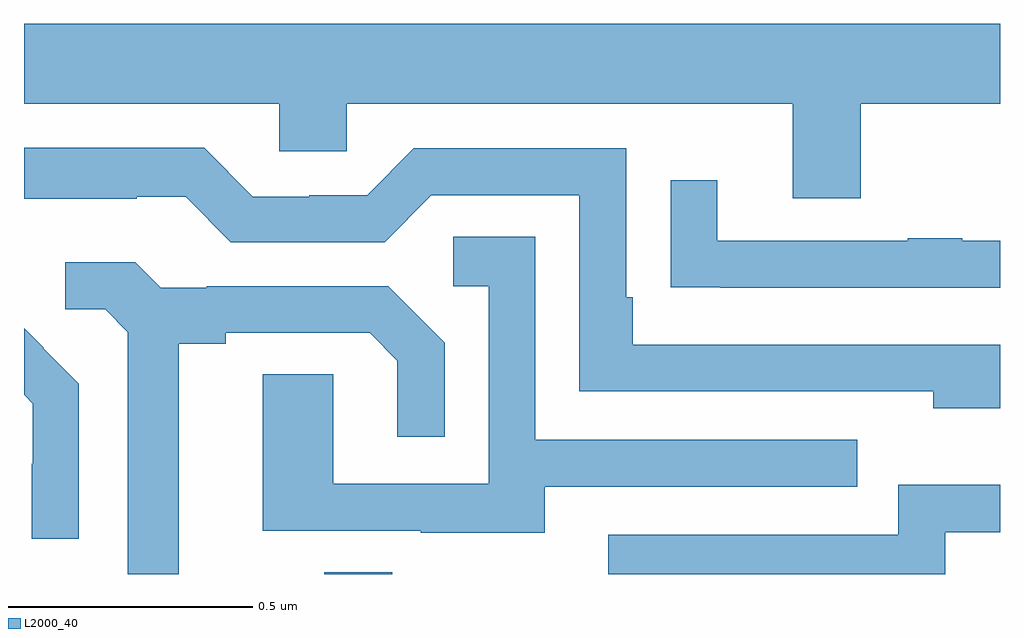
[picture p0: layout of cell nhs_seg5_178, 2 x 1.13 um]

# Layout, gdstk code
import gdstk
lib = gdstk.Library(unit=1e-6, precision=1e-09)
def R(c, l, rs):  # rectangles x0, y0, x1, y1
    for r in rs: c.add(gdstk.rectangle(r[:2], r[2:], *l))
def P(c, l, *ps):  # polygons
    for p in ps: c.add(gdstk.Polygon(p, *l))
L2000_40 = (2000, 40)

nhs_seg5_178 = lib.new_cell('nhs_seg5_178')
R(nhs_seg5_178, L2000_40, [(113.615,851.799,113.755,851.804)])
P(nhs_seg5_178, L2000_40, [(114.715,852.764),(115,852.764),(115,852.928),(113,852.928),(113,852.764),(113.523,852.764),(113.523,852.666),(113.661,852.666),(113.661,852.764),(114.575,852.764),(114.575,852.57),(114.715,852.57)],
  [(115,852.27),(114.247,852.27),(114.247,852.367),(114.234,852.367),(114.234,852.672),(113.799,852.672),(113.703,852.576),(113.585,852.576),(113.585,852.573),(113.469,852.573),(113.369,852.673),(113,852.673),(113,852.569),(113.231,852.569),(113.231,852.573),(113.331,852.573),(113.424,852.48),(113.739,852.48),(113.835,852.576),(114.138,852.576),(114.138,852.174),(114.863,852.174),(114.863,852.14),(115,852.14)],
  [(115,852.483),(114.923,852.483),(114.923,852.488),(114.811,852.488),(114.811,852.483),(114.421,852.483),(114.421,852.607),(114.325,852.607),(114.325,852.388),(114.427,852.388),(114.427,852.387),(115,852.387)],
  [(114.067,851.979),(114.707,851.979),(114.707,852.075),(114.048,852.075),(114.048,852.491),(113.88,852.491),(113.88,852.39),(113.952,852.39),(113.952,851.985),(113.634,851.985),(113.634,852.209),(113.489,852.209),(113.489,851.889),(113.813,851.889),(113.813,851.885),(114.067,851.885)],
  [(113.317,852.272),(113.413,852.272),(113.413,852.294),(113.708,852.294),(113.765,852.237),(113.765,852.081),(113.862,852.081),(113.862,852.274),(113.746,852.39),(113.374,852.39),(113.374,852.387),(113.28,852.387),(113.228,852.439),(113.085,852.439),(113.085,852.342),(113.166,852.342),(113.213,852.295),(113.213,851.799),(113.317,851.799)],
  [(113.112,852.19),(113.039,852.263),(113.04,852.264),(113,852.304),(113,852.167),(113.018,852.149),(113.018,852.026),(113.016,852.026),(113.016,851.872),(113.112,851.872)],
  [(114.888,851.886),(115,851.886),(115,851.983),(114.792,851.983),(114.792,851.88),(114.197,851.88),(114.197,851.799),(114.888,851.799)])

lib.write_gds('nhs_seg5_178.gds')
